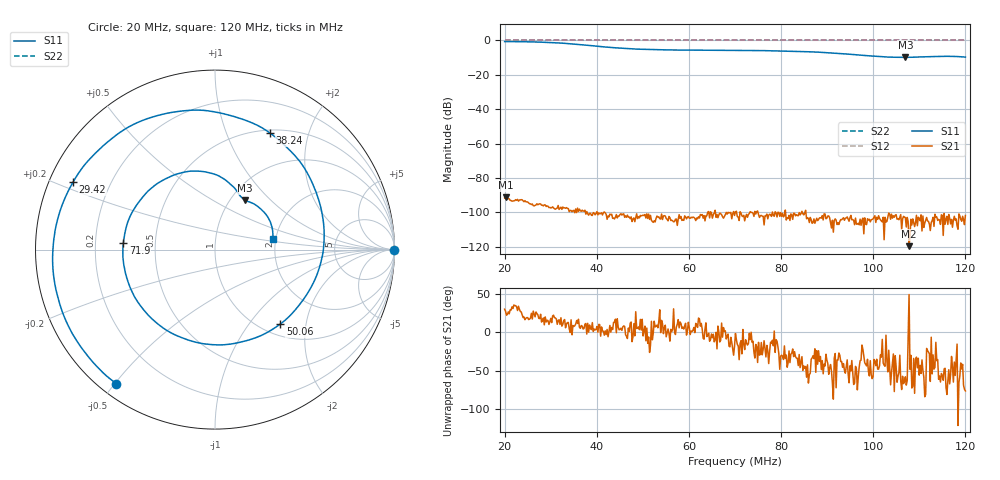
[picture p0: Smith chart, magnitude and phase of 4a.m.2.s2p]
! Anritsu VNA Master:  Model: MS2036C/10/77
! SN:  1601066
! /bd0/18may26.balun/4a.me2.s2p
! Existing Calibration Information:
! TYPE:  Current Settings,  Active Cal Settings
! TIME:  05/26/2018 03:12:58 PM,  05/26/2018 02:51:55 PM
! INTERNAL TEMP:  59.5 C,  59.5 C
! # POINTS:  500,  500
! START FREQ:  20.000 MHz,  20.000 MHz
! STOP FREQ:  120.000 MHz,  120.000 MHz
! SOURCE POWER:  High,  High
! IFBW:  50 Hz,  50 Hz
! AVG FACTOR:  1 ,  1
! REF PLANE 1:  0 mm,  0 mm
! REF PLANE 2:  0 mm,  0 mm
! CAL TYPE:  Full S11,  Full S11
! CAL METHOD:  SOLT,  SOLT
! CAL LINE TYPE:  Coax,  Coax
! DUT PORT 1:  K-Conn(M),  K-Conn(M)
! DUT PORT 2:  K-Conn(M),  K-Conn(M)
! CAL STATUS:  OK: Accuracy High,  --
# GHZ S DB R 50.0
! FREQ.GHZ  S11DB  S11A  S21DB  S21A  S12DB  S12A  S22DB  S22A
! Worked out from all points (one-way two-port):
!   500 points, 20 MHz to 120 MHz, reference 50 ohm
!   highest |S21| = -91.31 dB at 20.2 MHz (marker M1); lowest = -119.8 dB at 107.8 MHz (marker M2)
!   lowest |S11| = -9.8 dB at 107 MHz (marker M3), VSWR 1.95, Z = 58.4 + j35.8 ohm
!   |S11| at or under -10 dB: nowhere
!   |S22| runs from 0.0 to 0.0 dB; largest |S21 - S12| = 1
!   S11 on the Smith chart (normalised r, x): 20 MHz: 0.05, -0.50; 29.42 MHz: 0.07, +0.22; 38.24 MHz: 0.53, +1.43; 50.06 MHz: 1.21, -1.44; 71.9 MHz: 0.32, +0.03; 120 MHz: 1.93, +0.25
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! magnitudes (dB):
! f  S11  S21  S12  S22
! 20 MHz  -0.7  -91.7  0.0  0.0
! 20.2 MHz  -0.7  -91.3  0.0  0.0
! 25.61 MHz  -0.8  -95.1  0.0  0.0
! 29.42 MHz  -1.2  -96.5  0.0  0.0
! 32.83 MHz  -1.6  -97.5  0.0  0.0
! 36.83 MHz  -2.6  -98.8  0.0  0.0
! 38.24 MHz  -2.9  -101.7  0.0  0.0
! 43.85 MHz  -4.2  -103.9  0.0  0.0
! 47.66 MHz  -4.9  -105.4  0.0  0.0
! 50.06 MHz  -5.2  -101.7  0.0  0.0
! 53.47 MHz  -5.4  -102.7  0.0  0.0
! 70.1 MHz  -5.8  -99.8  0.0  0.0
! 71.9 MHz  -5.8  -101.8  0.0  0.0
! 80.32 MHz  -6.1  -100.7  0.0  0.0
! 86.73 MHz  -6.7  -106.5  0.0  0.0
! 92.95 MHz  -7.6  -104.3  0.0  0.0
! 99.36 MHz  -9.0  -105.6  0.0  0.0
! 103.4 MHz  -9.7  -100.5  0.0  0.0
! 107 MHz  -9.8  -103.1  0.0  0.0
! 107.8 MHz  -9.8  -119.8  0.0  0.0
! 116.2 MHz  -9.2  -107.1  0.0  0.0
! 120 MHz  -9.7  -101.9  0.0  0.0
